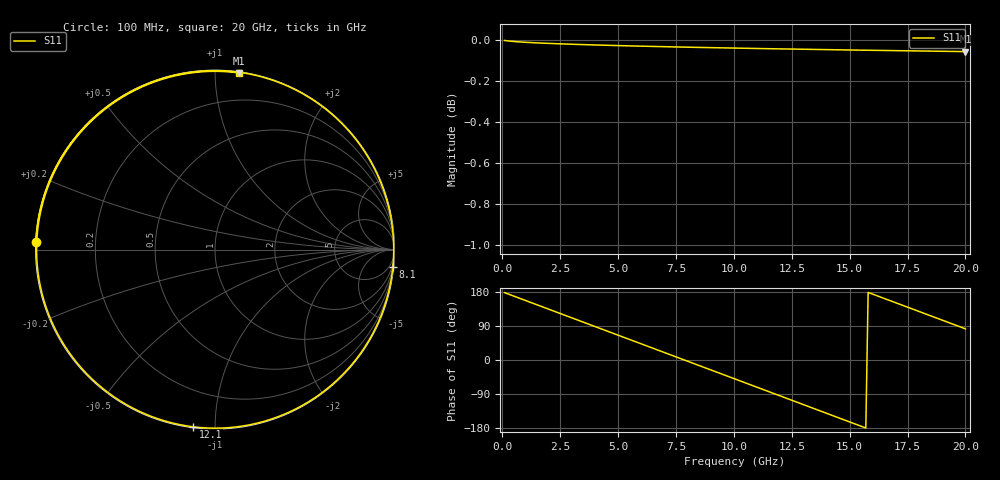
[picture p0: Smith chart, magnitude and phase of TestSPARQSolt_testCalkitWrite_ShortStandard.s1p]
# MHz MA S R 50.0
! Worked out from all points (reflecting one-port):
!   200 points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, 100 MHz to 20 GHz, reference 50 ohm
!   lowest |S11| = -0.1 dB at 20 GHz (marker M1), VSWR 298.09, Z = 0.387 + j57.2 ohm
!   phase of S11 starts at 178 deg and turns -455 deg over the sweep
!   S11 on the Smith chart (normalised r, x): 100 MHz: 0.00, +0.02; 8.1 GHz: 1, -21; 12.1 GHz: 0.00, -0.88; 20 GHz: 0.01, +1.14
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100  0.9995 177.7
700  0.9987 164.0
1300  0.9983 150.2
2600  0.9976 120.4
3300  0.9973 104.4
3900  0.997 90.7
4500  0.9968 76.9
5100  0.9966 63.2
6400  0.9962 33.4
7000  0.996 19.7
7600  0.9959 5.9
8100  0.9957 -5.5
9100  0.9955 -28.4
10100  0.9952 -51.3
11100  0.995 -74.2
12100  0.9948 -97.1
12600  0.9947 -108.5
13200  0.9946 -122.2
13900  0.9944 -138.2
14500  0.9943 -152.0
15100  0.9942 -165.7
15700  0.9941 -179.4
16300  0.994 166.9
16900  0.9939 153.1
17600  0.9937 137.1
18800  0.9935 109.7
19400  0.9934 96.0
20000  0.9933 82.3
